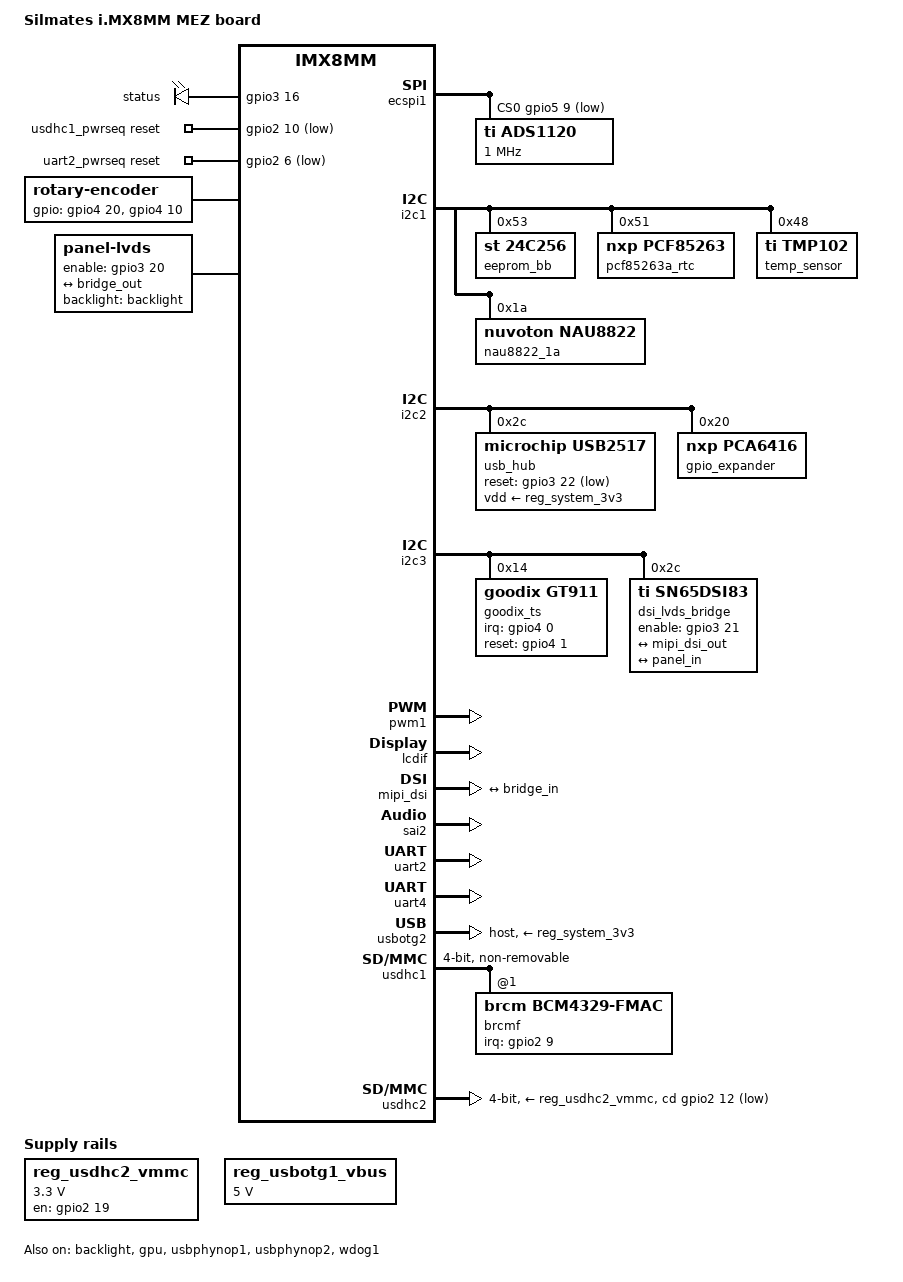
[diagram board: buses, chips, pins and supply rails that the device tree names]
// SPDX-License-Identifier: (GPL-2.0+ OR MIT)
/*
 * Copyright 2019-2020 NXP
 */

/dts-v1/;

#include <dt-bindings/usb/pd.h>
#include "imx8mm-mez.dtsi"

/ {
	model = "Silmates i.MX8MM MEZ board";
	compatible = "fsl,imx8mm-mez", "fsl,imx8mm";

    aliases {
        rtc0 = &snvs_rtc;
        rtc1 = &pcf85263a_rtc;
    };

	chosen {
		bootargs = "console=ttymxc3,115200 earlycon=ec_imx6q,0x30a60000,115200";
		stdout-path = &uart4;
	};

	gpio-leds {
		compatible = "gpio-leds";
		pinctrl-names = "default";
		pinctrl-0 = <&pinctrl_status_led>;

		system-status {
			label = "status";
			linux,default-trigger = "heartbeat";
			gpios = <&gpio3 16 GPIO_ACTIVE_HIGH>;
		};
	};

	regulators {
		compatible = "simple-bus";
		#address-cells = <1>;
		#size-cells = <0>;

		reg_usdhc2_vmmc: regulator-usdhc2 {
			compatible = "regulator-fixed";
			regulator-name = "VSD_3V3";
			regulator-min-microvolt = <3300000>;
			regulator-max-microvolt = <3300000>;
			gpio = <&gpio2 19 GPIO_ACTIVE_HIGH>;
			off-on-delay = <20000>;
			enable-active-high;
		};

		reg_usbotg1_vbus: regulator-usbotg1 {
			compatible = "regulator-fixed";
			regulator-name = "usbotg_vbus";
			regulator-min-microvolt = <5000000>;
			regulator-max-microvolt = <5000000>;
/*			gpio = <&gpio1 12 GPIO_ACTIVE_HIGH>;*/
			off-on-delay = <20000>;
			enable-active-high;
		};

		/* add construct for "fmac" to control WL_REG_ON signal */
		usdhc1_pwrseq: usdhc1_pwrseq {
			compatible = "mmc-pwrseq-simple";
			pinctrl-names = "default";
			pinctrl-0 = <&pinctrl_usdhc1_gpio>;
			reset-gpios = <&gpio2 10 GPIO_ACTIVE_LOW>; /* WL REG ON */
			status = "okay";
		};

		uart2_pwrseq: uart2_pwrseq {
			compatible = "gpio-reset";
			pinctrl-names = "default";
			pinctrl-0 = <&pinctrl_bt_en>;
			reset-gpios = <&gpio2 6 GPIO_ACTIVE_LOW>;  /* BT REG ON */
			reset-delay-us = <1000>;
			#reset-cells = <0>;
		};
	};

	sound_card: sound-card {
		compatible = "simple-audio-card";
		simple-audio-card,bitclock-master = <&dailink_master>;
		simple-audio-card,format = "i2s";
		simple-audio-card,frame-master = <&dailink_master>;
		simple-audio-card,mclk-fs = <256>;
		simple-audio-card,name = "imx8mm-nau8822";
		simple-audio-card,routing =
			"Headphones", "LHP",
			"Headphones", "RHP",
			"Speaker", "LSPK",
			"Speaker", "RSPK",
			"Line Out", "AUXOUT1",
			"Line Out", "AUXOUT2",
			"LAUX", "Line In",
			"RAUX", "Line In",
			"LMICP",    "Mic In",
			"RMICP",    "Mic In";
		simple-audio-card,widgets =
			"Headphones", "Headphones",
			"Line Out", "Line Out",
			"Speaker", "Speaker",
			"Microphone", "Mic In",
			"Line", "Line In";

		dailink_master: simple-audio-card,codec {
			sound-dai = <&nau8822_1a>;
			clocks = <&clk IMX8MM_CLK_SAI2_ROOT>;
		};

		simple-audio-card,cpu {
			sound-dai = <&sai2>;
		};
	};

	rotary-encoder {
		compatible = "rotary-encoder";
		status = "okay";
		pinctrl-names = "default";
		pinctrl-0 = <&pinctrl_rotary_encoder>;
		gpios = <&gpio4 20 GPIO_ACTIVE_HIGH>, <&gpio4 10 GPIO_ACTIVE_HIGH>;
		linux,axis = <0>; /* REL_X */
		rotary-encoder,encoding = "gray";
		rotary-encoder,relative-axis;
    };

	panel: panel_lvds  {
		compatible = "panel-lvds";
		backlight = <&backlight>;
		width-mm = <154>;
		height-mm = <85>;
		data-mapping ="vesa-24";
        enable-gpios = <&gpio3 20 GPIO_ACTIVE_HIGH>;

		panel-timing {
			clock-frequency = <51200000>;
			hactive = <1024>;
			vactive = <600>;

			hback-porch = <160>;
			hfront-porch = <140>;
			hsync-len = <20>;

			vback-porch = <23>;
			vfront-porch = <12>;
			vsync-len = <2>;
/*
			hsync-active = <0>;
			vsync-active = <0>;

			de-active = <0>;
			pixelclk-active = <0>;
*/
		};

		ports {
			#address-cells = <1>;
			#size-cells = <0>;

			port@0 {
				reg = <0>;

				panel_in: endpoint {
					remote-endpoint = <&bridge_out>;
				};
			};
		};
	};
};


&iomuxc {

	imx8mn-mez {

		pinctrl_rotary_encoder: rotaryencodergrp {
			fsl,pins = <
				MX8MM_IOMUXC_SAI1_MCLK_GPIO4_IO20		0x106	/* ENC A */
				MX8MM_IOMUXC_SAI1_TXFS_GPIO4_IO10		0x106	/* ENC B */
			>;
		};

		// status LED
		pinctrl_status_led: pinctrl_status_led {
			fsl,pins = <
				MX8MM_IOMUXC_NAND_READY_B_GPIO3_IO16		0x16
			>;
		};

		pinctrl_mipi_en: mipi_en_grp {
			fsl,pins = <
				MX8MM_IOMUXC_SAI5_RXD0_GPIO3_IO21		0x19
			>;
		};

		pinctrl_mipi_extra: mipi_extra_grp {
			fsl,pins = <
				MX8MM_IOMUXC_SAI5_RXC_GPIO3_IO20		0x1c4
				MX8MM_IOMUXC_SAI5_RXFS_GPIO3_IO19		0x1c4
				MX8MM_IOMUXC_SAI5_RXD0_GPIO3_IO21		0x1c4
				MX8MM_IOMUXC_SAI5_MCLK_GPIO3_IO25		0x1c4
			>;
		};

		pinctrl_touchscreen: touchscreengrp {
			fsl,pins = <
				MX8MM_IOMUXC_SAI1_RXFS_GPIO4_IO0		0x40000
				MX8MM_IOMUXC_SAI1_RXC_GPIO4_IO1			0x1c4
			>;
		};

		pinctrl_sai2: sai2grp {
			fsl,pins = <
				MX8MM_IOMUXC_SAI2_MCLK_SAI2_MCLK		0x6
				MX8MM_IOMUXC_SAI2_TXD0_SAI2_TX_DATA0	0x6
				MX8MM_IOMUXC_SAI2_TXC_SAI2_TX_BCLK		0x6
				MX8MM_IOMUXC_SAI2_RXD0_SAI2_RX_DATA0	0x6
				MX8MM_IOMUXC_SAI2_TXFS_SAI2_TX_SYNC		0x6
			>;
		};

		/* Bluetooth UART */
		pinctrl_uart2: uart2grp {
			fsl,pins = <
				MX8MM_IOMUXC_UART2_RXD_UART2_DCE_RX		0x140
				MX8MM_IOMUXC_UART2_TXD_UART2_DCE_TX		0x140
				MX8MM_IOMUXC_SAI3_RXD_UART2_DCE_RTS_B	0x140
				MX8MM_IOMUXC_SAI3_RXC_UART2_DCE_CTS_B	0x140
			>;
		};

		/* UART console */
		pinctrl_uart4: uart4grp {
			fsl,pins = <
				MX8MM_IOMUXC_UART4_RXD_UART4_DCE_RX	0x140
				MX8MM_IOMUXC_UART4_TXD_UART4_DCE_TX	0x140
			>;
		};

		pinctrl_bt_en: btgrp {
			fsl,pins = <
				MX8MM_IOMUXC_SD1_DATA4_GPIO2_IO6		0x159
			>;
		};

		pinctrl_wlan: wlangrp {
			fsl,pins = <
				MX8MM_IOMUXC_GPIO1_IO00_ANAMIX_REF_CLK_32K	0x141
				MX8MM_IOMUXC_SD1_DATA7_GPIO2_IO9		0x1c4
			>;
		};
		
		pinctrl_usdhc1_gpio: usdhc1grpgpio {
			fsl,pins = <
				MX8MM_IOMUXC_SD1_RESET_B_GPIO2_IO10	0x41
			>;
		};
	
		pinctrl_usdhc1: usdhc1grp {
			fsl,pins = <
				MX8MM_IOMUXC_SD1_CLK_USDHC1_CLK		0x190
				MX8MM_IOMUXC_SD1_CMD_USDHC1_CMD		0x1d0
				MX8MM_IOMUXC_SD1_DATA0_USDHC1_DATA0	0x1d0
				MX8MM_IOMUXC_SD1_DATA1_USDHC1_DATA1	0x1d0
				MX8MM_IOMUXC_SD1_DATA2_USDHC1_DATA2	0x1d0
				MX8MM_IOMUXC_SD1_DATA3_USDHC1_DATA3	0x1d0
			>;
		};

		pinctrl_usdhc2_gpio: usdhc2grpgpio {
			fsl,pins = <
				MX8MM_IOMUXC_SD2_RESET_B_GPIO2_IO19     0x1c4 /*0x41*/
				MX8MM_IOMUXC_SD2_CD_B_GPIO2_IO12		0x1c4
			>;
		};

		pinctrl_usdhc2: usdhc2grp {
			fsl,pins = <
				MX8MM_IOMUXC_SD2_CLK_USDHC2_CLK			0x190
				MX8MM_IOMUXC_SD2_CMD_USDHC2_CMD			0x1d0
				MX8MM_IOMUXC_SD2_DATA0_USDHC2_DATA0		0x1d0
				MX8MM_IOMUXC_SD2_DATA1_USDHC2_DATA1		0x1d0
				MX8MM_IOMUXC_SD2_DATA2_USDHC2_DATA2		0x1d0
				MX8MM_IOMUXC_SD2_DATA3_USDHC2_DATA3		0x1d0
				MX8MM_IOMUXC_GPIO1_IO04_USDHC2_VSELECT	0x1d0
			>;
		};

		pinctrl_wdog: wdoggrp {
			fsl,pins = <
				MX8MM_IOMUXC_GPIO1_IO02_WDOG1_WDOG_B		0xc6
			>;
		};

		pinctrl_expander: expandergrp {
			fsl,pins = <
				MX8MM_IOMUXC_SAI5_RXD1_GPIO3_IO22		0x106
			>;
		};

		pinctrl_usbotg1: usbotg1grp {
			fsl,pins = <
				MX8MM_IOMUXC_GPIO1_IO10_USB1_OTG_ID		0x106
				MX8MM_IOMUXC_GPIO1_IO12_USB1_OTG_PWR	0x106
				MX8MM_IOMUXC_GPIO1_IO13_USB1_OTG_OC		0x106
			>;
		};

		pinctrl_usbotg2: usbotg2grp {
			fsl,pins = <
				MX8MM_IOMUXC_GPIO1_IO11_USB2_OTG_ID		0x106
				MX8MM_IOMUXC_GPIO1_IO14_USB2_OTG_PWR	0x106
				MX8MM_IOMUXC_GPIO1_IO15_USB2_OTG_OC		0x106
			>;
		};
				
		pinctrl_ecspi1: ecspi1grp {
			fsl,pins = <
				MX8MM_IOMUXC_ECSPI1_SCLK_ECSPI1_SCLK		0x82
				MX8MM_IOMUXC_ECSPI1_MOSI_ECSPI1_MOSI		0x82
				MX8MM_IOMUXC_ECSPI1_MISO_ECSPI1_MISO		0x82
			>;
		};

		pinctrl_ecspi1_cs: ecspi1cs {
			fsl,pins = <
				MX8MM_IOMUXC_ECSPI1_SS0_GPIO5_IO9		0x40000
			>;
		};

		pinctrl_ads1120_irq: ads1120irq {
			fsl,pins = <
				MX8MM_IOMUXC_GPIO1_IO05_GPIO1_IO5		0x40000
			>;
		};

	};
};


&ecspi1 {
	#address-cells = <1>;
	#size-cells = <0>;
	fsl,spi-num-chipselects = <1>;
	pinctrl-names = "default";
	pinctrl-0 = <&pinctrl_ecspi1 &pinctrl_ecspi1_cs &pinctrl_ads1120_irq>;
	cs-gpios = <&gpio5 9 GPIO_ACTIVE_LOW>;
	status = "okay";

	ads1120: adc@0 {
		reg = <0>;
		compatible = "ti,ads1120";
		#address-cells = <1>;
		#size-cells = <0>;
		ti,vref = <1>;		// Vref from REFP0 and REFN0 pins
		spi-max-frequency = <1000000>;
		spi-cpha;
/*
		interrupt-parent = <&gpio1>;
		interrupts = <5 IRQ_TYPE_EDGE_RISING>;
*/
		channel@0 {
			reg = <0>;
			ti,idac = <0>;
			ti,idac-ua = <1000>;
			ti,idac-mux = <1>;
			ti,mux = <2>;
			ti,gain = <1>;
			ti,gain-bypass;
			ti,rsense-val-milli-ohms = <1650000>; //1.65Kohms
		};

		channel@1 {
			reg = <1>;
			ti,idac = <0>;
			ti,idac-ua = <1000>;
			ti,idac-mux = <2>;
			ti,mux = <4>;
			ti,gain = <1>;
			ti,gain-bypass;
			ti,rsense-val-milli-ohms = <1650000>; //1.65Kohms
		};

	};
};

&i2c1 {
    eeprom_bb: eeprom@53 {
		compatible = "st,24c256", "atmel,24c256";
		pagesize = <64>;
		reg = <0x53>;
        	size = <32768>;
		status = "okay";
    };
    
	pcf85263a_rtc: pcf85263@51 {
		compatible = "nxp,pcf85263";
		reg = <0x51>;
/*		quartz-load-capacitance = <PCF85263_QUARTZCAP_12p5pF>;
		quartz-drive-strength = <PCF85263_QUARTZDRIVE_LOW>;*/
	};

	temp_sensor: tmp102@48 {
		compatible = "ti,tmp102";
		reg = <0x48>;
		#thermal-sensor-cells = <1>;
	};

	/* Audio Codec */
	nau8822_1a: codec@1a {
		compatible = "nuvoton,nau8822";
		reg = <0x1a>;
		// Allow configuring the two loudspeaker outputs as a
		// single Bridge Tied Load output getting higher output power.
		nuvoton,spk-btl;
		#sound-dai-cells = <0>;
	};

};

&i2c2 {

    usb_hub: usb2517@2c {
		compatible = "microchip,usb2517";
		reg = <0x2c>;
		status = "okay";
		vdd-supply = <&reg_system_3v3>;
		pinctrl-names = "default";
		pinctrl-0 = <&pinctrl_expander>;
		reset-gpios = <&gpio3 22 GPIO_ACTIVE_LOW>;

/*		disable-hi-speed;*/

		self-powered;
		individual-sensing;

/*		single-tt;*/
		oc-delay-us = <16000>;

		multi-tt;
/*		disable-eop;*/
		individual-port-switching;
		dynamic-power-switching;
		compound-device;
		led-usb-mode;

		power-on-time-ms = <30>;
		string-support;

		/* add printer,qwerty,pmu,ft4232 */
		non-removable-ports = <3 6 7>; 
		bp-disabled-ports = <3 6 7>;

		bp-max-total-current-microamp = <500000>;
		sp-max-total-current-microamp = <100000>;
		sp-max-removable-current-microamp = <100000>;
		bp-max-removable-current-microamp = <500000>;

/*
		sp-disabled-ports = <1 2 4 5>;
		bp-disabled-ports = <3 6 7>;
*/
/*
		non-removable-ports = <1 2 3 6 7>;
		sp-disabled-ports = <>;
		bp-disabled-ports = <>;
		sp-max-total-current-microamp
		bp-max-total-current-microamp
		sp-max-removable-current-microamp
		bp-max-removable-current-microamp
*/		

		manufacturer = "Silmates";
		product = "MultiParaMonitor";
		serial = "1";
    };

	gpio_expander: io-expander@20 {
		compatible = "nxp,pca6416";
		reg = <0x20>;
		gpio-controller;
		#gpio-cells = <2>;
/*		vcc-supply = <&reg_system_3v3>;*/

		gpio-line-names = 
			"spo2_power_en",
			"ibp_gpio1",
			"ibp_power_en",
			"agm_gpio1",
			"agm_power_en",
			"co_gpio1",
			"co_power_en",
			"bis_gpio1",
			"bis_power_en",
			"ecg_gpio1",
			"ecg_power_en",
			"nibp_gpio1",
			"nibp_power_en",
			"etco2_gpio1",
			"etco2_power_en",
			"na";
	};
};

&i2c3 {
	/*
	goodix_ts: gt928@5d {
		pinctrl-names = "default";
		pinctrl-0 = <&pinctrl_touchscreen>;
		compatible = "goodix,gt928";
		reg = <0x5d>;
		interrupt-parent = <&gpio4>;
		interrupts = <0 IRQ_TYPE_EDGE_FALLING>;
		irq-gpios = <&gpio4 0 GPIO_ACTIVE_HIGH>;
		reset-gpios = <&gpio4 1 GPIO_ACTIVE_HIGH>;
		touchscreen-inverted-x = <1>;
		touchscreen-inverted-y = <1>;
		status = "okay";
	};
	*/
/*
	ili2511_ts: ili2511@41 {
		pinctrl-names = "default";
		pinctrl-0 = <&pinctrl_touchscreen>;
		compatible = "ilitek,ili251x";
		reg = <0x41>;
		interrupt-parent = <&gpio4>;
		interrupts = <0 IRQ_TYPE_EDGE_FALLING>;
		reset-gpios = <&gpio4 1 GPIO_ACTIVE_HIGH>;
		touchscreen-size-x = <1920>;
		touchscreen-size-y = <1080>;
		status = "okay";
	};
	*/

	goodix_ts:gt911@14 {
		compatible = "goodix,gt911";
		reg = <0x14>;
		pinctrl-names = "default";
		pinctrl-0 = <&pinctrl_touchscreen>;
		interrupt-parent = <&gpio4>;
		interrupts = <0 IRQ_TYPE_EDGE_FALLING>;
		irq-gpios = <&gpio4 0 GPIO_ACTIVE_HIGH>;
		reset-gpios = <&gpio4 1 GPIO_ACTIVE_HIGH>;
		touchscreen-size-x = <1024>;
		touchscreen-size-y = <600>;
	};

    dsi_lvds_bridge: sn65dsi83@2c {
        compatible = "ti,sn65dsi83";
        reg = <0x2c>;
        pinctrl-names = "default";
        pinctrl-0 = <&pinctrl_mipi_extra>;
        enable-gpios = <&gpio3 21 GPIO_ACTIVE_HIGH>;
        status = "okay";

		of-depends-on = <&panel>;

		ports {
			#address-cells = <1>;
			#size-cells = <0>;

			port@0 {
				reg = <0>;

				bridge_in: endpoint {
					remote-endpoint = <&mipi_dsi_out>;
					data-lanes = <1 2 3 4>;
				};
			};

			port@2 {
				reg = <2>;

				bridge_out: endpoint {
					remote-endpoint = <&panel_in>;
				};
			};
		};
    };
};

&pwm1 {
	status = "okay";
};

&backlight {
	status = "okay";
};

&lcdif {
	status = "okay";
};

&gpu {
	status = "okay";
};

&mipi_dsi {
	status = "okay";

	port@1 {
		mipi_dsi_out: endpoint {
			remote-endpoint = <&bridge_in>;
			attach-bridge;
		};
	};
};

&sai2 {
	#sound-dai-cells = <0>;
	pinctrl-names = "default";
	pinctrl-0 = <&pinctrl_sai2>;
	assigned-clocks = <&clk IMX8MM_CLK_SAI2>;
	assigned-clock-parents = <&clk IMX8MM_AUDIO_PLL1_OUT>;
	assigned-clock-rates = <24576000>;
	fsl,sai-mclk-direction-output;
	status = "okay";
};

&uart2 { /* Bluetooth UART */
	pinctrl-names = "default";
	pinctrl-0 = <&pinctrl_uart2>;
	resets = <&uart2_pwrseq>;
	assigned-clocks = <&clk IMX8MM_CLK_UART2>;
	assigned-clock-parents = <&clk IMX8MM_SYS_PLL1_80M>;
	fsl,uart-has-rtscts;
	status = "okay";
};

&uart4 { /* Console */
	pinctrl-names = "default";
	pinctrl-0 = <&pinctrl_uart4>;
	status = "okay";
};

&uart3 { /* Disabled as pins are used by Bluetooth for RTS/CTS */
	status = "disabled";
};

&usbotg1 {
	dr_mode = "otg";
	status = "disabled";
	pinctrl-names = "default";
	pinctrl-0 = <&pinctrl_usbotg1>;
	vbus-supply = <&reg_system_3v3>;
	disable-over-current;
};

&usbotg2 {
	hnp-disable;
	srp-disable;
	adp-disable;
/*
	pinctrl-names = "default";
	pinctrl-0 = <&pinctrl_usbotg2>;
*/
	vbus-supply = <&reg_system_3v3>;
	dr_mode = "host";
	status = "okay";
	disable-over-current;
	/delete-property/ usb-role-switch;
};

&usbphynop1 {
	vcc-supply = <&buck4_reg>;
	status = "okay";
};

&usbphynop2 {
	vcc-supply = <&buck4_reg>;
	status = "okay";
};

&usdhc3 {
	no-1-8-v;
	no-mmc-hs400;
};

/* WIFI */
&usdhc1 {
	#address-cells = <1>;
	#size-cells = <0>;
	pinctrl-names = "default";
	pinctrl-0 = <&pinctrl_usdhc1>, <&pinctrl_wlan>;
	/delete-property/ cd-gpios;
	bus-width = <4>;
	keep-power-in-suspend;
	non-removable;
	wakeup-source;
	pm-ignore-notify;
	cap-power-off;
	mmc-pwrseq = <&usdhc1_pwrseq>;
	status = "okay";
	no-1-8-v;
	no-mmc-hs400;

	brcmf: bcrmf@1 {
		reg = <1>;
		compatible = "brcm,bcm4329-fmac";
		interrupt-parent = <&gpio2>;
		interrupts = <9 IRQ_TYPE_LEVEL_LOW>;
		interrupt-names = "host-wake";
	};
};

/* uSD connector on carrier board */
&usdhc2 {
	pinctrl-names = "default";
	pinctrl-0 = <&pinctrl_usdhc2>, <&pinctrl_usdhc2_gpio>;
	bus-width = <4>;
	cd-gpios = <&gpio2 12 GPIO_ACTIVE_LOW>;
	vmmc-supply = <&reg_usdhc2_vmmc>;
	status = "okay";
	/* Limit frequency on dev board due to long traces and bad signal integrity */
	max-frequency = <100000000>;
};

&wdog1 {
	pinctrl-names = "default";
	pinctrl-0 = <&pinctrl_wdog>;
	fsl,ext-reset-output;
	status = "okay";
};


